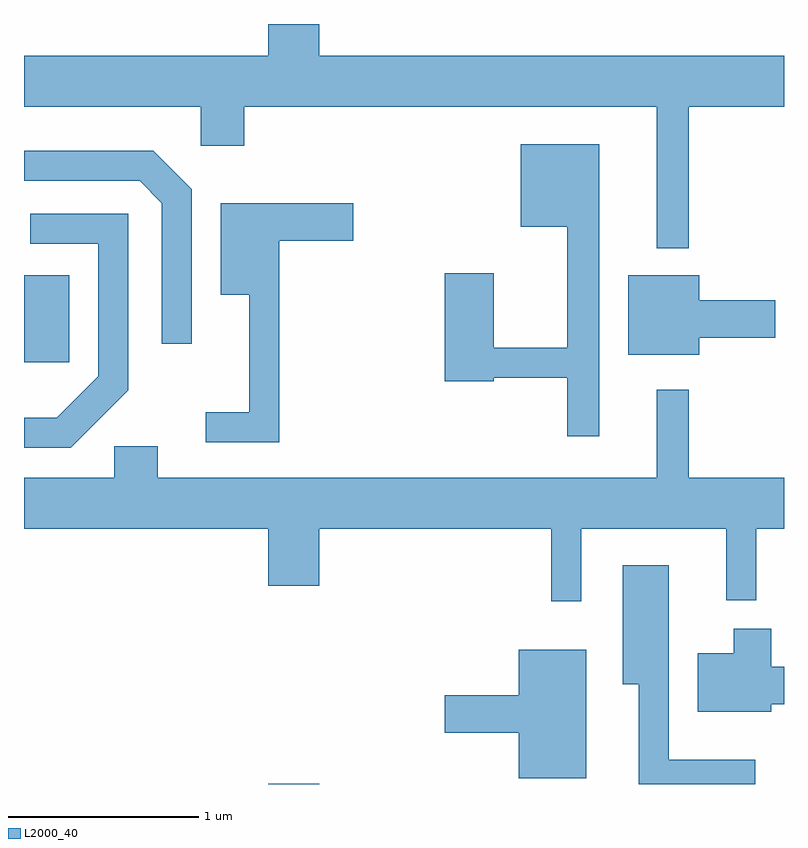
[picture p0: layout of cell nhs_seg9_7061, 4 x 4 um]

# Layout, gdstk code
import gdstk
lib = gdstk.Library(unit=1e-6, precision=1e-09)
def R(c, l, rs):  # rectangles x0, y0, x1, y1
    for r in rs: c.add(gdstk.rectangle(r[:2], r[2:], *l))
def P(c, l, *ps):  # polygons
    for p in ps: c.add(gdstk.Polygon(p, *l))
L2000_40 = (2000, 40)

nhs_seg9_7061 = lib.new_cell('nhs_seg9_7061')
R(nhs_seg9_7061, L2000_40, [(394.896,2030.432,395.164,2030.434), (393.611,2032.651,393.849,2033.109)])
P(nhs_seg9_7061, L2000_40, [(397.109,2033.996),(397.611,2033.996),(397.611,2034.264),(395.164,2034.264),(395.164,2034.432),(394.896,2034.432),(394.896,2034.264),(393.611,2034.264),(393.611,2033.996),(394.541,2033.996),(394.541,2033.791),(394.769,2033.791),(394.769,2033.996),(396.941,2033.996),(396.941,2033.253),(397.109,2033.253)],
  [(396.639,2033.799),(396.226,2033.799),(396.226,2033.366),(396.471,2033.366),(396.471,2032.729),(396.084,2032.729),(396.084,2033.119),(395.826,2033.119),(395.826,2032.551),(396.084,2032.551),(396.084,2032.571),(396.471,2032.571),(396.471,2032.263),(396.639,2032.263)],
  [(394.494,2033.562),(394.292,2033.764),(393.611,2033.764),(393.611,2033.606),(394.219,2033.606),(394.336,2033.489),(394.336,2032.748),(394.494,2032.748)],
  [(394.954,2033.291),(395.344,2033.291),(395.344,2033.489),(394.646,2033.489),(394.646,2033.006),(394.796,2033.006),(394.796,2032.389),(394.568,2032.389),(394.568,2032.231),(394.954,2032.231)],
  [(394.159,2032.504),(394.159,2033.434),(393.643,2033.434),(393.643,2033.276),(394.001,2033.276),(394.001,2032.577),(393.784,2032.359),(393.611,2032.359),(393.611,2032.201),(393.857,2032.201)],
  [(397.164,2032.781),(397.564,2032.781),(397.564,2032.979),(397.164,2032.979),(397.164,2033.109),(396.791,2033.109),(396.791,2032.691),(397.164,2032.691)],
  [(396.544,2031.776),(397.306,2031.776),(397.306,2031.398),(397.464,2031.398),(397.464,2031.776),(397.611,2031.776),(397.611,2032.044),(397.109,2032.044),(397.109,2032.508),(396.941,2032.508),(396.941,2032.044),(394.314,2032.044),(394.314,2032.209),(394.086,2032.209),(394.086,2032.044),(393.611,2032.044),(393.611,2031.776),(394.896,2031.776),(394.896,2031.476),(395.164,2031.476),(395.164,2031.776),(396.386,2031.776),(396.386,2031.393),(396.544,2031.393)],
  [(397.459,2030.559),(397.004,2030.559),(397.004,2031.584),(396.761,2031.584),(396.761,2030.956),(396.846,2030.956),(396.846,2030.432),(397.459,2030.432)],
  [(397.544,2030.851),(397.611,2030.851),(397.611,2031.049),(397.544,2031.049),(397.544,2031.249),(397.346,2031.249),(397.346,2031.119),(397.156,2031.119),(397.156,2030.811),(397.544,2030.811)],
  [(396.569,2031.139),(396.216,2031.139),(396.216,2030.899),(395.826,2030.899),(395.826,2030.701),(396.216,2030.701),(396.216,2030.461),(396.569,2030.461)])

lib.write_gds('nhs_seg9_7061.gds')
